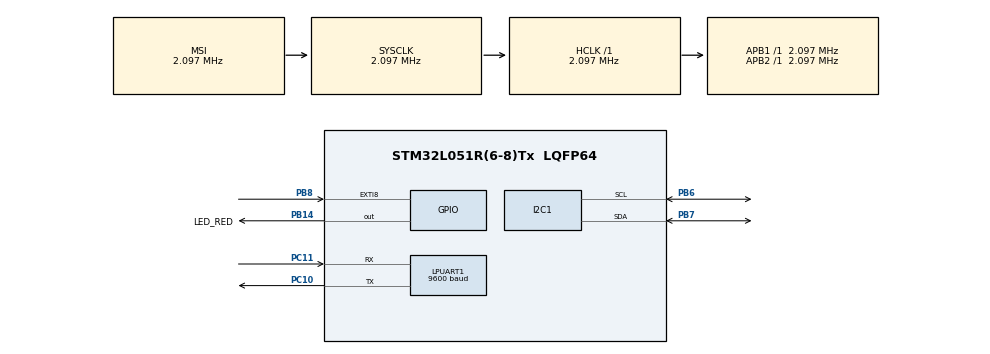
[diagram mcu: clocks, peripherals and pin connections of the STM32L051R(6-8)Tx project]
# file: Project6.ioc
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LPUART1.BaudRate=9600
Mcu.Family=STM32L0
Mcu.Name=STM32L051R(6-8)Tx
Mcu.Package=LQFP64
NVIC.EXTI4_15_IRQn=true\:0\:0\:false\:false\:true\:true\:true
PB14.GPIO_Label=LED_RED
PB14.Signal=GPIO_Output
PB6.Mode=I2C
PB6.Signal=I2C1_SCL
PB7.Mode=I2C
PB7.Signal=I2C1_SDA
PB8.Signal=GPXTI8
PC10.Mode=Asynchronous
PC10.Signal=LPUART1_TX
PC11.Mode=Asynchronous
PC11.Signal=LPUART1_RX
PC14-OSC32_IN.Mode=LSE-External-Clock-Source
PC14-OSC32_IN.Signal=RCC_OSC32_IN
PH0-OSC_IN.Mode=HSE-External-Clock-Source
PH0-OSC_IN.Signal=RCC_OSC_IN
ProjectManager.HeapSize=0x200
ProjectManager.StackSize=0x400
ProjectManager.TargetToolchain=EWARM V8.32
RCC.AHBFreq_Value=2097000
RCC.APB1Freq_Value=2097000
RCC.APB1TimFreq_Value=2097000
RCC.APB2Freq_Value=2097000
RCC.APB2TimFreq_Value=2097000
RCC.HSE_VALUE=8000000
RCC.HSI16_VALUE=16000000
RCC.HSI_VALUE=16000000
RCC.LSE_VALUE=32768
RCC.MSI_VALUE=2097000
RCC.SYSCLKFreq_VALUE=2097000
RCC.VCOOutputFreq_Value=48000000
board=custom

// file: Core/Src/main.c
/* USER CODE BEGIN Header */
/**
  ******************************************************************************
  * @file           : main.c
  * @brief          : Main program body
  ******************************************************************************
  * @attention
  *
  * <h2><center>&copy; Copyright (c) 2021 STMicroelectronics.
  * All rights reserved.</center></h2>
  *
  * This software component is licensed by ST under BSD 3-Clause license,
  * the "License"; You may not use this file except in compliance with the
  * License. You may obtain a copy of the License at:
  *                        opensource.org/licenses/BSD-3-Clause
  *
  ******************************************************************************
  */
/* USER CODE END Header */
#include "main.h"

/* USER CODE BEGIN Includes */

#include "stdio.h"
#include "stdlib.h"
#include "string.h"

/* USER CODE END Includes */

I2C_HandleTypeDef hi2c1;

UART_HandleTypeDef hlpuart1;

/* USER CODE BEGIN PV */
/*Address*/
uint16_t Dev_Add = 0011000;       // Acc Device Address
uint16_t Read_Dev_Add = 0x31;     // Device Read Address (00110001)
uint16_t Write_Dev_Add = 0x30 ;   // Device Write Address (00110000)

/*Register Map*/
uint16_t CTRL_Reg_0      = 0x1E  ;       // CTRL Reg 0 Register Address
uint16_t CTRL_Reg_1      = 0x20  ;       // CTRL Reg 1 Register Address
uint16_t CTRL_Reg_2      = 0x21  ;       // CTRL Reg 2 Register Address
uint16_t CTRL_Reg_3      = 0x22  ;       // CTRL Reg 2 Register Address
uint16_t CTRL_Reg_4      = 0x23  ;       // CTRL Reg 2 Register Address
uint16_t CTRL_Reg_5      = 0x24  ;       // CTRL Reg 2 Register Address
uint16_t INT_1_CFG_Reg   = 0x30 ;        // INTERTTUPT1 config register
uint16_t INT_1_THS_Reg   = 0x32 ;        // INTERRUPT1 threshold register
uint16_t INT_1_DRT_Reg   = 0x33 ;        // INTERRUPT1 duration register
uint16_t INT_1_SRC_Reg   = 0x31 ;        // INTERRUPT1 src register
uint16_t OUT_X_H_Reg     = 0x29 ;        // OUTX register
uint16_t OUT_Y_H_Reg     = 0x2B ;        // OUTY register
uint16_t Status_Reg      = 0x27 ;        // Status register
uint16_t OUT_Z_H_Reg     = 0x2D;         // OUTZ register
uint8_t sonuc ;

/*Transmit and Receive Buffers*/
uint8_t Transmit_Data[1];
uint8_t Receive_Data[1];

/* USER CODE END PV */

void SystemClock_Config(void);
static void MX_GPIO_Init(void);
static void MX_I2C1_Init(void);
static void MX_LPUART1_UART_Init(void);

/* USER CODE BEGIN 0 */

/*Printf UART Config*/
#ifdef __GNUC__
/* With GCC/RAISONANCE, small printf (option LD Linker->Libraries->Small printf
 set to 'Yes') calls __io_putchar() */
#define PUTCHAR_PROTOTYPE int __io_putchar(int ch)
#else
#define PUTCHAR_PROTOTYPE int fputc(int ch, FILE *f)
#endif /* __GNUC__ */

/*Write Register Function*/
uint8_t writeReg(uint16_t targetReg, uint8_t transmitData){
      Transmit_Data[0] = transmitData ;

  do{
      sonuc = HAL_I2C_Mem_Write(&hi2c1, Write_Dev_Add, targetReg, I2C_MEMADD_SIZE_8BIT, (uint8_t *)Transmit_Data, strlen((char *)Transmit_Data), 1000);
      HAL_Delay(200);
      printf("Yazma fonksiyonu kontrol sonucu = %d\r\n",sonuc);
    }while(sonuc != HAL_OK);

  return sonuc;
}

/*Read Register Function*/
uint8_t readReg (uint16_t targetReg){

  do{
      Receive_Data[0] = 0x02 ;
      sonuc = HAL_I2C_Mem_Read(&hi2c1, Read_Dev_Add, targetReg, I2C_MEMADD_SIZE_8BIT, &Receive_Data[0], 1, 1000);
      printf("Okunan Registerin Degeri = %d\n\r",Receive_Data[0]);
      printf("Okuma fonk sonuc = %d\r\n",sonuc) ;
    }while(sonuc != HAL_OK);
  Receive_Data[0] = 0x02 ;

return sonuc;
}

/*Refresh Interrupt Function*/
void refreshInterrupt(){

  do{
      Receive_Data[0] = 0x02 ;
      sonuc = HAL_I2C_Mem_Read(&hi2c1, Read_Dev_Add, INT_1_SRC_Reg, I2C_MEMADD_SIZE_8BIT, &Receive_Data[0], 1, 1000);
    }while(sonuc != HAL_OK);
  Receive_Data[0] = 0x02 ;
    HAL_Delay(1000);
};

/*Function prototypes*/
uint8_t writeReg(uint16_t targetReg, uint8_t transmitData);
uint8_t readReg(uint16_t targetReg);
void refreshInterrupt();

/* USER CODE END 0 */

int main(void)
{

  /* MCU Configuration--------------------------------------------------------*/

  /* Reset of all peripherals, Initializes the Flash interface and the Systick. */
  HAL_Init();

  /* Configure the system clock */
  SystemClock_Config();

  /* Initialize all configured peripherals */
  MX_GPIO_Init();
  MX_I2C1_Init();
  MX_LPUART1_UART_Init();
  /* USER CODE BEGIN 2 */

  /*INIT CONFIG*/
  writeReg(CTRL_Reg_1, 0x8F);
  writeReg(CTRL_Reg_5, 0x04);
  writeReg(CTRL_Reg_3, 0x40);
  writeReg(INT_1_CFG_Reg, 0x7F);

  writeReg(INT_1_THS_Reg, 0x1F);
  writeReg(INT_1_DRT_Reg, 0x3F);
//  writeReg(INT_1_THS_Reg, 0x7F);
//  writeReg(INT_1_DRT_Reg, 0x7F);

  /*CHECK CONFIG */
  readReg (CTRL_Reg_1);
  readReg (CTRL_Reg_5);
  readReg(CTRL_Reg_3);
  readReg(INT_1_CFG_Reg);
  readReg(INT_1_THS_Reg);
  readReg(INT_1_DRT_Reg);

  /* USER CODE END 2 */

  /* Infinite loop */
  /* USER CODE BEGIN WHILE */
  while (1)
  {
//  refreshInterrupt();

    /* USER CODE END WHILE */

  }
}

void SystemClock_Config(void)
{
  RCC_OscInitTypeDef RCC_OscInitStruct = {0};
  RCC_ClkInitTypeDef RCC_ClkInitStruct = {0};
  RCC_PeriphCLKInitTypeDef PeriphClkInit = {0};

  /** Configure the main internal regulator output voltage
  */
  __HAL_PWR_VOLTAGESCALING_CONFIG(PWR_REGULATOR_VOLTAGE_SCALE1);
  /** Initializes the RCC Oscillators according to the specified parameters
  * in the RCC_OscInitTypeDef structure.
  */
  RCC_OscInitStruct.OscillatorType = RCC_OSCILLATORTYPE_MSI;
  RCC_OscInitStruct.MSIState = RCC_MSI_ON;
  RCC_OscInitStruct.MSICalibrationValue = 0;
  RCC_OscInitStruct.MSIClockRange = RCC_MSIRANGE_5;
  RCC_OscInitStruct.PLL.PLLState = RCC_PLL_NONE;
  if (HAL_RCC_OscConfig(&RCC_OscInitStruct) != HAL_OK)
  {
    Error_Handler();
  }
  /** Initializes the CPU, AHB and APB buses clocks
  */
  RCC_ClkInitStruct.ClockType = RCC_CLOCKTYPE_HCLK|RCC_CLOCKTYPE_SYSCLK
                              |RCC_CLOCKTYPE_PCLK1|RCC_CLOCKTYPE_PCLK2;
  RCC_ClkInitStruct.SYSCLKSource = RCC_SYSCLKSOURCE_MSI;
  RCC_ClkInitStruct.AHBCLKDivider = RCC_SYSCLK_DIV1;
  RCC_ClkInitStruct.APB1CLKDivider = RCC_HCLK_DIV1;
  RCC_ClkInitStruct.APB2CLKDivider = RCC_HCLK_DIV1;

  if (HAL_RCC_ClockConfig(&RCC_ClkInitStruct, FLASH_LATENCY_0) != HAL_OK)
  {
    Error_Handler();
  }
  PeriphClkInit.PeriphClockSelection = RCC_PERIPHCLK_LPUART1|RCC_PERIPHCLK_I2C1;
  PeriphClkInit.Lpuart1ClockSelection = RCC_LPUART1CLKSOURCE_PCLK1;
  PeriphClkInit.I2c1ClockSelection = RCC_I2C1CLKSOURCE_PCLK1;
  if (HAL_RCCEx_PeriphCLKConfig(&PeriphClkInit) != HAL_OK)
  {
    Error_Handler();
  }
}

static void MX_I2C1_Init(void)
{

  hi2c1.Instance = I2C1;
  hi2c1.Init.Timing = 0x00000708;
  hi2c1.Init.OwnAddress1 = 0;
  hi2c1.Init.AddressingMode = I2C_ADDRESSINGMODE_7BIT;
  hi2c1.Init.DualAddressMode = I2C_DUALADDRESS_DISABLE;
  hi2c1.Init.OwnAddress2 = 0;
  hi2c1.Init.OwnAddress2Masks = I2C_OA2_NOMASK;
  hi2c1.Init.GeneralCallMode = I2C_GENERALCALL_DISABLE;
  hi2c1.Init.NoStretchMode = I2C_NOSTRETCH_DISABLE;
  if (HAL_I2C_Init(&hi2c1) != HAL_OK)
  {
    Error_Handler();
  }
  /** Configure Analogue filter
  */
  if (HAL_I2CEx_ConfigAnalogFilter(&hi2c1, I2C_ANALOGFILTER_ENABLE) != HAL_OK)
  {
    Error_Handler();
  }
  /** Configure Digital filter
  */
  if (HAL_I2CEx_ConfigDigitalFilter(&hi2c1, 0) != HAL_OK)
  {
    Error_Handler();
  }

}

static void MX_LPUART1_UART_Init(void)
{

  hlpuart1.Instance = LPUART1;
  hlpuart1.Init.BaudRate = 9600;
  hlpuart1.Init.WordLength = UART_WORDLENGTH_7B;
  hlpuart1.Init.StopBits = UART_STOPBITS_1;
  hlpuart1.Init.Parity = UART_PARITY_NONE;
  hlpuart1.Init.Mode = UART_MODE_TX_RX;
  hlpuart1.Init.HwFlowCtl = UART_HWCONTROL_NONE;
  hlpuart1.Init.OneBitSampling = UART_ONE_BIT_SAMPLE_DISABLE;
  hlpuart1.AdvancedInit.AdvFeatureInit = UART_ADVFEATURE_NO_INIT;
  if (HAL_UART_Init(&hlpuart1) != HAL_OK)
  {
    Error_Handler();
  }

}

static void MX_GPIO_Init(void)
{
  GPIO_InitTypeDef GPIO_InitStruct = {0};

  /* GPIO Ports Clock Enable */
  __HAL_RCC_GPIOC_CLK_ENABLE();
  __HAL_RCC_GPIOH_CLK_ENABLE();
  __HAL_RCC_GPIOB_CLK_ENABLE();

  /*Configure GPIO pin Output Level */
  HAL_GPIO_WritePin(LED_RED_GPIO_Port, LED_RED_Pin, GPIO_PIN_RESET);

  /*Configure GPIO pin : LED_RED_Pin */
  GPIO_InitStruct.Pin = LED_RED_Pin;
  GPIO_InitStruct.Mode = GPIO_MODE_OUTPUT_PP;
  GPIO_InitStruct.Pull = GPIO_NOPULL;
  GPIO_InitStruct.Speed = GPIO_SPEED_FREQ_LOW;
  HAL_GPIO_Init(LED_RED_GPIO_Port, &GPIO_InitStruct);

  /*Configure GPIO pin : PB8 */
  GPIO_InitStruct.Pin = GPIO_PIN_8;
  GPIO_InitStruct.Mode = GPIO_MODE_IT_RISING;
  GPIO_InitStruct.Pull = GPIO_NOPULL;
  HAL_GPIO_Init(GPIOB, &GPIO_InitStruct);

  /* EXTI interrupt init*/
  HAL_NVIC_SetPriority(EXTI4_15_IRQn, 0, 0);
  HAL_NVIC_EnableIRQ(EXTI4_15_IRQn);

}

/* USER CODE BEGIN 4 */
/*Printf UART CONFIG 2*/
/**
 * @brief Retargets the C library printf function to the USART.
 * @param None
 * @retval None
 */
PUTCHAR_PROTOTYPE
{
 /* Place your implementation of fputc here */
 /* e.g. write a character to the USART2 and Loop until the end of transmission */
 HAL_UART_Transmit(&hlpuart1, (uint8_t *)&ch, 1, 0xFFFF);

return ch;
}

void HAL_GPIO_EXTI_Callback(uint16_t GPIO_Pin)
{
    if(GPIO_Pin == GPIO_PIN_8)
    {
      printf("\r\n---------------------------------------INTERRUPT - HAREKET ALGILANDI------------------------------\r\n");
    }
}

/* USER CODE END 4 */

void Error_Handler(void)
{
}

/************************ (C) COPYRIGHT STMicroelectronics *****END OF FILE****/
